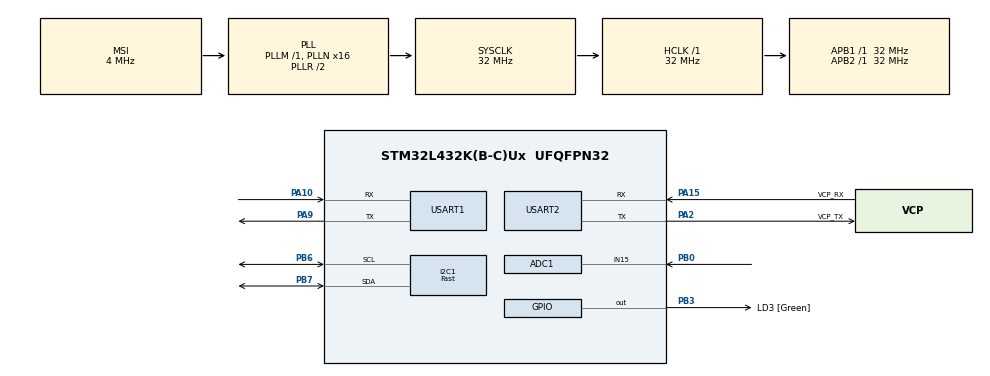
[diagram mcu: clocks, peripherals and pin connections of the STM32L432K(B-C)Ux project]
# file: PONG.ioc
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ADC1.Channel-0\#ChannelRegularConversion=ADC_CHANNEL_15
ADC1.NbrOfConversionFlag=1
ADC1.OffsetNumber-0\#ChannelRegularConversion=ADC_OFFSET_NONE
ADC1.Rank-0\#ChannelRegularConversion=1
ADC1.SamplingTime-0\#ChannelRegularConversion=ADC_SAMPLETIME_2CYCLES_5
ADC1.master=1
FREERTOS.Tasks01=userControl,24,128,userPaddle,Default,NULL,Dynamic,NULL,NULL;ballControl,24,128,ball,Default,NULL,Dynamic,NULL,NULL;opponent,8,128,oponentPaddle,Default,NULL,Dynamic,NULL,NULL;Draw,32,128,DrawScreen,Default,NULL,Dynamic,NULL,NULL
I2C1.I2C_Speed_Mode=I2C_Fast
I2C1.Timing=0x00300F38
Mcu.Family=STM32L4
Mcu.Name=STM32L432K(B-C)Ux
Mcu.Package=UFQFPN32
NVIC.PriorityGroup=NVIC_PRIORITYGROUP_4
NVIC.TIM6_DAC_IRQn=true\:15\:0\:false\:false\:true\:false\:false\:true
NVIC.TimeBase=TIM6_DAC_IRQn
NVIC.TimeBaseIP=TIM6
NVIC.USART1_IRQn=true\:5\:0\:false\:false\:true\:true\:true\:true
NVIC.USART2_IRQn=true\:5\:0\:false\:false\:true\:true\:true\:true
PA0.GPIO_Label=MCO [High speed clock in]
PA0.Mode=HSE-External-Clock-Source-for-LittleOrca
PA0.Signal=RCC_CK_IN
PA10.Mode=Asynchronous
PA10.Signal=USART1_RX
PA13\ (JTMS-SWDIO).GPIO_Label=SWDIO
PA13\ (JTMS-SWDIO).Mode=Serial_Wire
PA13\ (JTMS-SWDIO).Signal=SYS_JTMS-SWDIO
PA14\ (JTCK-SWCLK).GPIO_Label=SWCLK
PA14\ (JTCK-SWCLK).Mode=Serial_Wire
PA14\ (JTCK-SWCLK).Signal=SYS_JTCK-SWCLK
PA15\ (JTDI).GPIO_Label=VCP_RX
PA15\ (JTDI).Mode=Asynchronous
PA15\ (JTDI).Signal=USART2_RX
PA2.GPIO_Label=VCP_TX
PA2.Mode=Asynchronous
PA2.Signal=USART2_TX
PA9.Mode=Asynchronous
PA9.Signal=USART1_TX
PB0.Signal=ADCx_IN15
PB3\ (JTDO-TRACESWO).GPIO_Label=LD3 [Green]
PB3\ (JTDO-TRACESWO).Signal=GPIO_Output
PB6.Mode=I2C
PB6.Signal=I2C1_SCL
PB7.Mode=I2C
PB7.Signal=I2C1_SDA
PC14-OSC32_IN\ (PC14).Mode=LSE-External-Oscillator
PC14-OSC32_IN\ (PC14).Signal=RCC_OSC32_IN
PC15-OSC32_OUT\ (PC15).Mode=LSE-External-Oscillator
PC15-OSC32_OUT\ (PC15).Signal=RCC_OSC32_OUT
ProjectManager.HeapSize=0x200
ProjectManager.StackSize=0x400
ProjectManager.TargetToolchain=STM32CubeIDE
RCC.AHBFreq_Value=32000000
RCC.APB1Freq_Value=32000000
RCC.APB1TimFreq_Value=32000000
RCC.APB2Freq_Value=32000000
RCC.APB2TimFreq_Value=32000000
RCC.CortexFreq_Value=32000000
RCC.HCLKFreq_Value=32000000
RCC.HSE_VALUE=8000000
RCC.HSI16_VALUE=16000000
RCC.HSI48_VALUE=48000000
RCC.HSI_VALUE=16000000
RCC.MSI_VALUE=4000000
RCC.PLLMUL=RCC_PLLMUL_4
RCC.PLLN=16
RCC.SYSCLKFreq_VALUE=32000000
RCC.SYSCLKSource=RCC_SYSCLKSOURCE_PLLCLK
RCC.VCOOutputFreq_Value=64000000
SH.ADCx_IN15.0=ADC1_IN15,IN15-Single-Ended
USART1.VirtualMode-Asynchronous=VM_ASYNC
USART2.VirtualMode-Asynchronous=VM_ASYNC
VP_FREERTOS_VS_CMSIS_V2.Mode=CMSIS_V2
VP_SYS_VS_tim6.Mode=TIM6
board=NUCLEO-L432KC

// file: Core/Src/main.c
/* USER CODE BEGIN Header */
/**
  ******************************************************************************
  * @file           : main.c
  * @brief          : Main program body
  ******************************************************************************
  * @attention
  *
  * Copyright (c) 2022 STMicroelectronics.
  * All rights reserved.
  *
  * This software is licensed under terms that can be found in the LICENSE file
  * in the root directory of this software component.
  * If no LICENSE file comes with this software, it is provided AS-IS.
  *
  ******************************************************************************
  */
/* USER CODE END Header */
#include "main.h"
#include "cmsis_os.h"

/* USER CODE BEGIN Includes */
#include "ssd1306.h"
#include "fonts.h"
#include "test.h"
#include <math.h>
#include<stdio.h>
#include<string.h>

#include "ESP8266_HAL.h"

#include "ESP8266.H"

/* USER CODE END Includes */

ADC_HandleTypeDef hadc1;

I2C_HandleTypeDef hi2c1;

UART_HandleTypeDef huart1;
UART_HandleTypeDef huart2;

/* Definitions for userControl */
osThreadId_t userControlHandle;
const osThreadAttr_t userControl_attributes = {
  .name = "userControl",
  .stack_size = 128 * 4,
  .priority = (osPriority_t) osPriorityNormal,
};
/* Definitions for ballControl */
osThreadId_t ballControlHandle;
const osThreadAttr_t ballControl_attributes = {
  .name = "ballControl",
  .stack_size = 128 * 4,
  .priority = (osPriority_t) osPriorityNormal,
};
/* Definitions for opponent */
osThreadId_t opponentHandle;
const osThreadAttr_t opponent_attributes = {
  .name = "opponent",
  .stack_size = 128 * 4,
  .priority = (osPriority_t) osPriorityLow,
};
/* Definitions for Draw */
osThreadId_t DrawHandle;
const osThreadAttr_t Draw_attributes = {
  .name = "Draw",
  .stack_size = 128 * 4,
  .priority = (osPriority_t) osPriorityAboveNormal,
};

void SystemClock_Config(void);
static void MX_GPIO_Init(void);
static void MX_USART2_UART_Init(void);
static void MX_ADC1_Init(void);
static void MX_I2C1_Init(void);
static void MX_USART1_UART_Init(void);
void userPaddle(void *argument);
void ball(void *argument);
void oponentPaddle(void *argument);
void DrawScreen(void *argument);

/* USER CODE BEGIN 0 */

//uint16_t YScrollValue;
int16_t playerYPosition = 15;
const uint16_t paddleLength = 20;
const uint16_t paddleWidth = 5;

int16_t opponentYPosition = SSD1306_HEIGHT/2;
const uint16_t opponentBarLength = 18;
const uint16_t opponentBarWidth = 5;

//defaults
const int16_t defaultBallXPosition = SSD1306_WIDTH/2;
const int16_t defaultBallYPosition = SSD1306_HEIGHT/2;

const int16_t defaultBallXVelocity = 5;
const int16_t defaultBallYVelocity = 0;

const int16_t defaultBallXDirection = -1;
const int16_t defaultBallYDirection = 0;

const uint16_t addedVelocity = 1;

int16_t ballXPosition = defaultBallXPosition;
int16_t ballYPosition = defaultBallYPosition;

int16_t ballXVelocity = defaultBallXVelocity;
int16_t ballYVelocity = defaultBallYVelocity;

int16_t ballXDirection = defaultBallXDirection;
int16_t ballYDirection = defaultBallYDirection;

uint16_t playerScore = 0;
uint16_t opponentScore = 0;

const uint16_t ballRadius = 4;
uint16_t halfBallRadius = ballRadius/2;

const uint16_t leftEdge = 5;
const uint16_t rightEdge = 123;

uint16_t playerScored = 0;
uint16_t opponentScored = 0;

const uint16_t maxBallSpeed = 10;

/* USER CODE END 0 */

int main(void)
{

  /* MCU Configuration--------------------------------------------------------*/

  /* Reset of all peripherals, Initializes the Flash interface and the Systick. */
   HAL_Init();

  /* Configure the system clock */
  SystemClock_Config();

  /* Initialize all configured peripherals */
  MX_GPIO_Init();
  MX_USART2_UART_Init();
  MX_ADC1_Init();
  MX_I2C1_Init();
  MX_USART1_UART_Init();
  /* USER CODE BEGIN 2 */

  uint16_t YScrollValue = 10;

  HAL_StatusTypeDef responseReceive;
  HAL_StatusTypeDef responseTransmit;

   SSD1306_Init();

  SSD1306_GotoXY(0,0);

  SSD1306_Puts("Starting", &Font_11x18, 1);
  SSD1306_GotoXY(10, 30);
  SSD1306_Puts("Game", &Font_11x18, 1);
  SSD1306_UpdateScreen();

  HAL_Delay(1000);

  SSD1306_Clear();

  /* USER CODE END 2 */

  /* Init scheduler */
  osKernelInitialize();

  /* Create the thread(s) */
  /* creation of userControl */
  userControlHandle = osThreadNew(userPaddle, NULL, &userControl_attributes);

  /* creation of ballControl */
  ballControlHandle = osThreadNew(ball, NULL, &ballControl_attributes);

  /* creation of opponent */
  opponentHandle = osThreadNew(oponentPaddle, NULL, &opponent_attributes);

  /* creation of Draw */
  DrawHandle = osThreadNew(DrawScreen, NULL, &Draw_attributes);

  /* Start scheduler */
  osKernelStart();

  /* We should never get here as control is now taken by the scheduler */
  /* Infinite loop */
  while (1)
  {

  }
}

void SystemClock_Config(void)
{
  RCC_OscInitTypeDef RCC_OscInitStruct = {0};
  RCC_ClkInitTypeDef RCC_ClkInitStruct = {0};

  /** Configure the main internal regulator output voltage
  */
  if (HAL_PWREx_ControlVoltageScaling(PWR_REGULATOR_VOLTAGE_SCALE1) != HAL_OK)
  {
    Error_Handler();
  }
  /** Configure LSE Drive Capability
  */
  HAL_PWR_EnableBkUpAccess();
  __HAL_RCC_LSEDRIVE_CONFIG(RCC_LSEDRIVE_LOW);
  /** Initializes the RCC Oscillators according to the specified parameters
  * in the RCC_OscInitTypeDef structure.
  */
  RCC_OscInitStruct.OscillatorType = RCC_OSCILLATORTYPE_LSE|RCC_OSCILLATORTYPE_MSI;
  RCC_OscInitStruct.LSEState = RCC_LSE_ON;
  RCC_OscInitStruct.MSIState = RCC_MSI_ON;
  RCC_OscInitStruct.MSICalibrationValue = 0;
  RCC_OscInitStruct.MSIClockRange = RCC_MSIRANGE_6;
  RCC_OscInitStruct.PLL.PLLState = RCC_PLL_ON;
  RCC_OscInitStruct.PLL.PLLSource = RCC_PLLSOURCE_MSI;
  RCC_OscInitStruct.PLL.PLLM = 1;
  RCC_OscInitStruct.PLL.PLLN = 16;
  RCC_OscInitStruct.PLL.PLLP = RCC_PLLP_DIV7;
  RCC_OscInitStruct.PLL.PLLQ = RCC_PLLQ_DIV2;
  RCC_OscInitStruct.PLL.PLLR = RCC_PLLR_DIV2;
  if (HAL_RCC_OscConfig(&RCC_OscInitStruct) != HAL_OK)
  {
    Error_Handler();
  }
  /** Initializes the CPU, AHB and APB buses clocks
  */
  RCC_ClkInitStruct.ClockType = RCC_CLOCKTYPE_HCLK|RCC_CLOCKTYPE_SYSCLK
                              |RCC_CLOCKTYPE_PCLK1|RCC_CLOCKTYPE_PCLK2;
  RCC_ClkInitStruct.SYSCLKSource = RCC_SYSCLKSOURCE_PLLCLK;
  RCC_ClkInitStruct.AHBCLKDivider = RCC_SYSCLK_DIV1;
  RCC_ClkInitStruct.APB1CLKDivider = RCC_HCLK_DIV1;
  RCC_ClkInitStruct.APB2CLKDivider = RCC_HCLK_DIV1;

  if (HAL_RCC_ClockConfig(&RCC_ClkInitStruct, FLASH_LATENCY_1) != HAL_OK)
  {
    Error_Handler();
  }
  /** Enable MSI Auto calibration
  */
  HAL_RCCEx_EnableMSIPLLMode();
}

static void MX_ADC1_Init(void)
{

  ADC_ChannelConfTypeDef sConfig = {0};

  /** Common config
  */
  hadc1.Instance = ADC1;
  hadc1.Init.ClockPrescaler = ADC_CLOCK_ASYNC_DIV1;
  hadc1.Init.Resolution = ADC_RESOLUTION_12B;
  hadc1.Init.DataAlign = ADC_DATAALIGN_RIGHT;
  hadc1.Init.ScanConvMode = ADC_SCAN_DISABLE;
  hadc1.Init.EOCSelection = ADC_EOC_SINGLE_CONV;
  hadc1.Init.LowPowerAutoWait = DISABLE;
  hadc1.Init.ContinuousConvMode = DISABLE;
  hadc1.Init.NbrOfConversion = 1;
  hadc1.Init.DiscontinuousConvMode = DISABLE;
  hadc1.Init.ExternalTrigConv = ADC_SOFTWARE_START;
  hadc1.Init.ExternalTrigConvEdge = ADC_EXTERNALTRIGCONVEDGE_NONE;
  hadc1.Init.DMAContinuousRequests = DISABLE;
  hadc1.Init.Overrun = ADC_OVR_DATA_PRESERVED;
  hadc1.Init.OversamplingMode = DISABLE;
  if (HAL_ADC_Init(&hadc1) != HAL_OK)
  {
    Error_Handler();
  }
  /** Configure Regular Channel
  */
  sConfig.Channel = ADC_CHANNEL_15;
  sConfig.Rank = ADC_REGULAR_RANK_1;
  sConfig.SamplingTime = ADC_SAMPLETIME_2CYCLES_5;
  sConfig.SingleDiff = ADC_SINGLE_ENDED;
  sConfig.OffsetNumber = ADC_OFFSET_NONE;
  sConfig.Offset = 0;
  if (HAL_ADC_ConfigChannel(&hadc1, &sConfig) != HAL_OK)
  {
    Error_Handler();
  }

}

static void MX_I2C1_Init(void)
{

  hi2c1.Instance = I2C1;
  hi2c1.Init.Timing = 0x00300F38;
  hi2c1.Init.OwnAddress1 = 0;
  hi2c1.Init.AddressingMode = I2C_ADDRESSINGMODE_7BIT;
  hi2c1.Init.DualAddressMode = I2C_DUALADDRESS_DISABLE;
  hi2c1.Init.OwnAddress2 = 0;
  hi2c1.Init.OwnAddress2Masks = I2C_OA2_NOMASK;
  hi2c1.Init.GeneralCallMode = I2C_GENERALCALL_DISABLE;
  hi2c1.Init.NoStretchMode = I2C_NOSTRETCH_DISABLE;
  if (HAL_I2C_Init(&hi2c1) != HAL_OK)
  {
    Error_Handler();
  }
  /** Configure Analogue filter
  */
  if (HAL_I2CEx_ConfigAnalogFilter(&hi2c1, I2C_ANALOGFILTER_ENABLE) != HAL_OK)
  {
    Error_Handler();
  }
  /** Configure Digital filter
  */
  if (HAL_I2CEx_ConfigDigitalFilter(&hi2c1, 0) != HAL_OK)
  {
    Error_Handler();
  }

}

static void MX_USART1_UART_Init(void)
{

  huart1.Instance = USART1;
  huart1.Init.BaudRate = 115200;
  huart1.Init.WordLength = UART_WORDLENGTH_8B;
  huart1.Init.StopBits = UART_STOPBITS_1;
  huart1.Init.Parity = UART_PARITY_NONE;
  huart1.Init.Mode = UART_MODE_TX_RX;
  huart1.Init.HwFlowCtl = UART_HWCONTROL_NONE;
  huart1.Init.OverSampling = UART_OVERSAMPLING_16;
  huart1.Init.OneBitSampling = UART_ONE_BIT_SAMPLE_DISABLE;
  huart1.AdvancedInit.AdvFeatureInit = UART_ADVFEATURE_NO_INIT;
  if (HAL_UART_Init(&huart1) != HAL_OK)
  {
    Error_Handler();
  }

}

static void MX_USART2_UART_Init(void)
{

  huart2.Instance = USART2;
  huart2.Init.BaudRate = 115200;
  huart2.Init.WordLength = UART_WORDLENGTH_8B;
  huart2.Init.StopBits = UART_STOPBITS_1;
  huart2.Init.Parity = UART_PARITY_NONE;
  huart2.Init.Mode = UART_MODE_TX_RX;
  huart2.Init.HwFlowCtl = UART_HWCONTROL_NONE;
  huart2.Init.OverSampling = UART_OVERSAMPLING_16;
  huart2.Init.OneBitSampling = UART_ONE_BIT_SAMPLE_DISABLE;
  huart2.AdvancedInit.AdvFeatureInit = UART_ADVFEATURE_NO_INIT;
  if (HAL_UART_Init(&huart2) != HAL_OK)
  {
    Error_Handler();
  }

}

static void MX_GPIO_Init(void)
{
  GPIO_InitTypeDef GPIO_InitStruct = {0};

  /* GPIO Ports Clock Enable */
  __HAL_RCC_GPIOC_CLK_ENABLE();
  __HAL_RCC_GPIOA_CLK_ENABLE();
  __HAL_RCC_GPIOB_CLK_ENABLE();

  /*Configure GPIO pin Output Level */
  HAL_GPIO_WritePin(LD3_GPIO_Port, LD3_Pin, GPIO_PIN_RESET);

  /*Configure GPIO pin : LD3_Pin */
  GPIO_InitStruct.Pin = LD3_Pin;
  GPIO_InitStruct.Mode = GPIO_MODE_OUTPUT_PP;
  GPIO_InitStruct.Pull = GPIO_NOPULL;
  GPIO_InitStruct.Speed = GPIO_SPEED_FREQ_LOW;
  HAL_GPIO_Init(LD3_GPIO_Port, &GPIO_InitStruct);

}

void userPaddle(void *argument)
{
  /* USER CODE BEGIN 5 */
  /* Infinite loop */

	uint16_t ADCValue;
	uint16_t dyPerFrame = 3;

  for(;;)
  {
	  HAL_ADC_Start(&hadc1);
	  HAL_ADC_PollForConversion(&hadc1, 10);
	  ADCValue = HAL_ADC_GetValue(&hadc1);

	  if(ADCValue < 50)//if(ADCValue == 0)
	  {
		  if(playerYPosition < SSD1306_HEIGHT - paddleLength) //Go Down
		  {
			  playerYPosition += dyPerFrame;
		  }

	  }

	  if(ADCValue > 3500)//if(ADCValue == 4095)
	  {
		  if(playerYPosition >= dyPerFrame)
		  {
			  playerYPosition -= dyPerFrame;

			  if(playerYPosition < dyPerFrame) //changing the position by more then one at a time (dyPerFrame) can lead us to below zero, this stops that
			  {
				  playerYPosition = 0;
			  }
		  }
	  }

    osDelay(1);
  }
  /* USER CODE END 5 */
}

/* USER CODE BEGIN Header_ball */

void calculateXYVelocity(int16_t relativeIntersectY)
{
	switch(relativeIntersectY)
	{

	case 10://68 Degrees
		ballYVelocity = 5;//
		ballXVelocity = 2;
		break;

	case 9://63 Degrees
		ballYVelocity = 4;
		ballXVelocity = 2;
		break;

	case 8://59 Degrees
		ballYVelocity = 5;
		ballXVelocity = 3;
		break;

	case 7://59 Degrees
		ballYVelocity = 5;
		ballXVelocity = 3;
		break;

	case 6://53 Degrees
		ballYVelocity = 4;
		ballXVelocity = 3;
		break;

	case 5://53 Degrees
		ballYVelocity = 4;
		ballXVelocity = 3;
		break;

	case 4://51 Degrees
		ballYVelocity = 5;
		ballXVelocity = 4;
		break;

	case 3://51 Degrees
		ballYVelocity = 5;
		ballXVelocity = 4;
		break;

	case 2://50 degrees
		ballYVelocity = 6;
		ballXVelocity = 5;
		break;

	case 1://45 Degrees
		ballYVelocity = 5;
		ballXVelocity = 5;
		break;

	case 0://45 Degrees
		ballYVelocity = 6;
		ballXVelocity = 6;
		break;

	}
}

void determineBallSpeedandDirection(int16_t paddlePosition)
{
	//Values between -10 and 10 (inclusive)
	int16_t relativeIntersectY = (paddlePosition+(paddleLength/2)) - ballYPosition;

	//Ball is on LOWER half of paddle
	if(relativeIntersectY <= -1)
	{
		relativeIntersectY = relativeIntersectY * -1;
		calculateXYVelocity(relativeIntersectY);
		ballYDirection = 1;
	}

	//Ball is on UPPER half of paddle
	else if(relativeIntersectY >= 1)
	{
		calculateXYVelocity(relativeIntersectY);
		ballYDirection = -1;
	}

	ballXDirection *= -1; //This only gets called when a paddle is hit so change the direction

}

/**
* @brief Function implementing the ballControl thread.
* @param argument: Not used
* @retval None
*/
/* USER CODE END Header_ball */
void ball(void *argument)
{
  /* USER CODE BEGIN ball */
  /* Infinite loop */

	uint16_t leftPlayableEdge = 0 + paddleWidth;
	uint16_t rightPlayableEdge = SSD1306_WIDTH - paddleWidth;

  for(;;)
  {

	  //Opponent Scored
	  if(ballXPosition <= 0)
	  {
		  opponentScored = 1;
		  opponentScore++;
	  }

	  //Player Scored
	  else if(ballXPosition >= SSD1306_WIDTH)
	  {
		  playerScored = 1;
		  playerScore++;
	  }

	  //Player paddle
	  else if(ballXPosition - halfBallRadius <= leftPlayableEdge)
	  {
		 if((ballYPosition >= playerYPosition) && (ballYPosition <= playerYPosition + paddleLength) && (ballXDirection == -1))
		 {
			 determineBallSpeedandDirection(playerYPosition);
		 }
	  }

	  //Opponent paddle
	  else if(ballXPosition + halfBallRadius >= rightPlayableEdge)
	  {
		 if((ballYPosition >= opponentYPosition) && (ballYPosition <=opponentYPosition + paddleLength) && (ballXDirection == 1))
		 {
			  determineBallSpeedandDirection(opponentYPosition);
		 }
	  }

	  //Top or bottom of arena
	  else if(ballYPosition <= halfBallRadius)
	  {
			  ballYDirection *= -1;
			  ballYPosition = halfBallRadius;
	  }

	  else if(ballYPosition + halfBallRadius >= SSD1306_HEIGHT)
	  {
		  ballYDirection *= -1;
		  ballYPosition = SSD1306_HEIGHT - halfBallRadius;
	  }

	  ballXPosition = ballXPosition + (ballXDirection * ballXVelocity);
	  ballYPosition = ballYPosition + (ballYDirection * ballYVelocity);

    osDelay(1);
  }
  /* USER CODE END ball */
}

void oponentPaddle(void *argument)
{
  /* USER CODE BEGIN oponentPaddle */
  /* Infinite loop */

	uint16_t dyPerFrame = 3;

  for(;;)
  {

	  if(playerScore <= opponentScore)//Adjust how hard depending on score to keep it fun
	  {
		  dyPerFrame = 2;

	  }
	  else
	  {
		  dyPerFrame = 4;
	  }

	  if(ballYPosition < opponentYPosition + paddleLength/2)
	  {
			if(opponentYPosition > 0)
			{
				opponentYPosition = opponentYPosition - dyPerFrame;
			}
	  }
	  if(ballYPosition > opponentYPosition + paddleLength/2)
	  {
			if(opponentYPosition < SSD1306_HEIGHT - paddleLength)
			{
				opponentYPosition = opponentYPosition + dyPerFrame;
			}
	  }

    osDelay(1);
  }
  /* USER CODE END oponentPaddle */
}

/* USER CODE BEGIN Header_DrawScreen */

void resetGameDefaults()
{

	ballXPosition = defaultBallXPosition;
	ballYPosition = defaultBallYPosition;

	ballYDirection = defaultBallYDirection;

	ballXVelocity = defaultBallXVelocity;
	ballYVelocity = defaultBallYVelocity;

	playerScored = 0;
	opponentScored = 0;

}

void displayScore()
{

	char msg[4];
	if(playerScore >= 10) //Adjust score so a single digit score doesn't look too weird
	{
		SSD1306_GotoXY(25,10);
	}
	else
	{
		SSD1306_GotoXY(40,10);
	}

	//Draw ScoreBoard
	sprintf(msg, "%hu", playerScore);
	SSD1306_Puts(&msg, &Font_16x26, 1);

	SSD1306_GotoXY(74,10);
	sprintf(msg, "%hu", opponentScore);
	SSD1306_Puts(&msg, &Font_16x26, 1);

	SSD1306_DrawLine(SSD1306_WIDTH/2, 0, SSD1306_WIDTH/2 , SSD1306_HEIGHT, SSD1306_COLOR_WHITE);
	SSD1306_UpdateScreen();

}

/**
* @brief Function implementing the Draw thread.
* @param argument: Not used
* @retval None
*/
/* USER CODE END Header_DrawScreen */
void DrawScreen(void *argument)
{
  /* USER CODE BEGIN DrawScreen */

	char msg[4];

  /* Infinite loop */
  for(;;)
  {

	  //Server_Start();

	  SSD1306_Clear();

	  //Player Paddle
	  SSD1306_DrawFilledRectangle(0, playerYPosition, paddleWidth, paddleLength, SSD1306_COLOR_WHITE);

	  //Opponent Paddle
	  SSD1306_DrawFilledRectangle(SSD1306_WIDTH - paddleWidth, opponentYPosition, paddleWidth, paddleLength, SSD1306_COLOR_WHITE);

	  //Ball
	  SSD1306_DrawCircle(ballXPosition, ballYPosition, ballRadius, SSD1306_COLOR_WHITE);

	  if(playerScore >= 11)
	  {

		  SSD1306_GotoXY(0,0);
		  SSD1306_Puts("Player", &Font_11x18, 1);
		  SSD1306_GotoXY(0,15);
		  SSD1306_Puts("Wins!", &Font_11x18, 1);
		  resetGameDefaults();
		  playerScore = 0;
		  opponentScore = 0;
		  SSD1306_UpdateScreen();

		  HAL_Delay(2000);

	  }
	  else if(opponentScore >= 11)
	  {

		 SSD1306_GotoXY(0,0);
		 SSD1306_Puts("Opponent", &Font_11x18, 1);
		 SSD1306_GotoXY(0,15);
		 SSD1306_Puts("Wins!", &Font_11x18, 1);
		 resetGameDefaults();
		 playerScore = 0;
		 opponentScore = 0;
		 SSD1306_UpdateScreen();

		 HAL_Delay(2000);

	  }
	  else if(playerScored)
	  {
		displayScore();
		resetGameDefaults();
		ballXDirection = -1;

		HAL_Delay(1000);

	  }
	  else if(opponentScored)
	  {
		displayScore();
		resetGameDefaults();
		ballXDirection = 1;

		HAL_Delay(1000);

	  }

	  SSD1306_UpdateScreen();
	  osDelay(1);
  }
  /* USER CODE END DrawScreen */
}

void HAL_TIM_PeriodElapsedCallback(TIM_HandleTypeDef *htim)
{
  if (htim->Instance == TIM6) {
    HAL_IncTick();
  }
}

void Error_Handler(void)
{
  __disable_irq();
  while (1)
  {
  }
}
